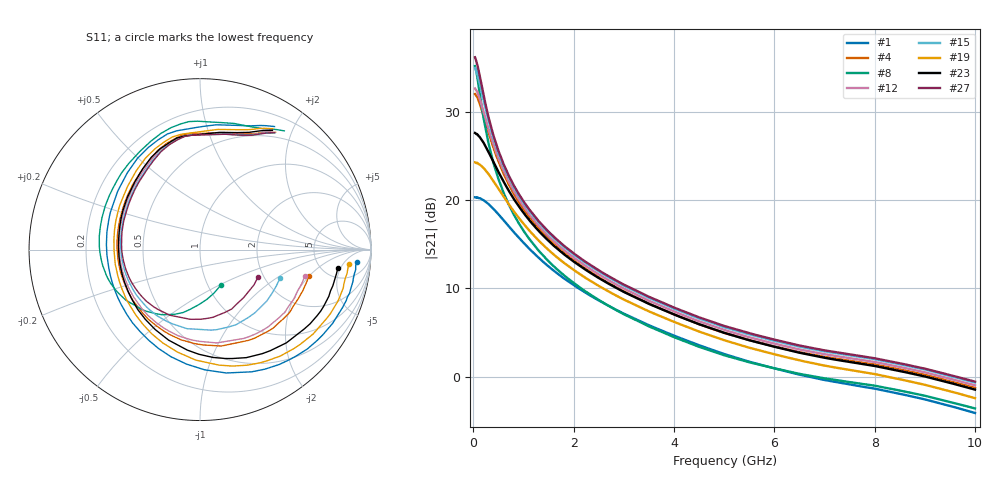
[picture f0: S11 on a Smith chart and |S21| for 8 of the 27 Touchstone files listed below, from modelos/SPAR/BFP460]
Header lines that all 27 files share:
! Infineon Technologies  Discrete & RF Semiconductors
! BFP460
! Common Emitter S-Parameters:  Jan 2016
# GHz  S  MA  R  50
!  f  S11  S21  S12  S22
! GHz  MAG  ANG  MAG  ANG  MAG  ANG  MAG  ANG
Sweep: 30 MHz to 10 GHz
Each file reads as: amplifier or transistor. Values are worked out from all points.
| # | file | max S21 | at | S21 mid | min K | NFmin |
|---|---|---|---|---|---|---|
| 1 | BFP460_w_noise_VCE_1.5V_IC_3.0mA.s2p | 20.3 dB | 70 MHz | 11.2 dB at 1.78 GHz | 0.03 | 0.71 dB |
| 2 | BFP460_w_noise_VCE_1.5V_IC_8.0mA.s2p | 27.7 dB | 30 MHz | 13.4 dB at 1.78 GHz | 0.07 | 0.89 dB |
| 3 | BFP460_w_noise_VCE_1.5V_IC_10mA.s2p | 29.1 dB | 30 MHz | 13.7 dB at 1.78 GHz | 0.09 | 0.95 dB |
| 4 | BFP460_w_noise_VCE_1.5V_IC_16mA.s2p | 32.0 dB | 30 MHz | 14.1 dB at 1.78 GHz | 0.14 | 1.13 dB |
| 5 | BFP460_w_noise_VCE_1.5V_IC_25mA.s2p | 34.2 dB | 30 MHz | 14.4 dB at 1.78 GHz | 0.19 | 1.36 dB |
| 6 | BFP460_w_noise_VCE_1.5V_IC_40mA.s2p | 35.8 dB | 30 MHz | 14.3 dB at 1.78 GHz | 0.26 | 1.63 dB |
| 7 | BFP460_w_noise_VCE_1.5V_IC_50mA.s2p | 36.3 dB | 30 MHz | 14.1 dB at 1.78 GHz | 0.32 | 1.78 dB |
| 8 | BFP460_w_noise_VCE_1.5V_IC_70mA.s2p | 35.1 dB | 30 MHz | 11.6 dB at 1.78 GHz | 0.56 | 2.03 dB |
| 9 | BFP460_w_noise_VCE_2.0V_IC_3.0mA.s2p | 20.3 dB | 70 MHz | 11.4 dB at 1.78 GHz | 0.01 | 0.70 dB |
| 10 | BFP460_w_noise_VCE_2.0V_IC_8.0mA.s2p | 27.6 dB | 30 MHz | 13.6 dB at 1.78 GHz | 0.06 | 0.89 dB |
| 11 | BFP460_w_noise_VCE_2.0V_IC_14mA.s2p | 31.2 dB | 30 MHz | 14.3 dB at 1.78 GHz | 0.11 | 1.09 dB |
| 12 | BFP460_w_noise_VCE_2.0V_IC_18mA.s2p | 32.6 dB | 30 MHz | 14.5 dB at 1.78 GHz | 0.13 | 1.13 dB |
| 13 | BFP460_w_noise_VCE_2.0V_IC_40mA.s2p | 35.9 dB | 30 MHz | 14.6 dB at 1.78 GHz | 0.25 | 1.63 dB |
| 14 | BFP460_w_noise_VCE_2.5V_IC_20mA.s2p | 33.1 dB | 30 MHz | 14.7 dB at 1.78 GHz | 0.14 | 1.24 dB |
| 15 | BFP460_w_noise_VCE_2.5V_IC_30mA.s2p | 34.9 dB | 30 MHz | 14.8 dB at 1.78 GHz | 0.19 | 1.47 dB |
| 16 | BFP460_w_noise_VCE_2.5V_IC_35mA.s2p | 35.4 dB | 30 MHz | 14.8 dB at 1.78 GHz | 0.21 | 1.56 dB |
| 17 | BFP460_w_noise_VCE_2.5V_IC_50mA.s2p | 36.3 dB | 30 MHz | 14.7 dB at 1.78 GHz | 0.28 | 1.78 dB |
| 18 | BFP460_w_noise_VCE_3.0V_IC_1.0mA.s2p | 11.6 dB | 70 MHz | 6.7 dB at 1.78 GHz | 0.01 | 0.69 dB |
| 19 | BFP460_w_noise_VCE_3.0V_IC_5.0mA.s2p | 24.3 dB | 30 MHz | 13.0 dB at 1.78 GHz | 0.04 | 0.78 dB |
| 20 | BFP460_w_noise_VCE_3.0V_IC_10mA.s2p | 29.1 dB | 30 MHz | 14.2 dB at 1.78 GHz | 0.09 | 0.95 dB |
| 21 | BFP460_w_noise_VCE_3.0V_IC_20mA.s2p | 33.1 dB | 30 MHz | 14.8 dB at 1.78 GHz | 0.15 | 1.24 dB |
| 22 | BFP460_w_noise_VCE_3.0V_IC_45mA.s2p | 36.1 dB | 30 MHz | 14.9 dB at 1.78 GHz | 0.26 | 1.72 dB |
| 23 | BFP460_w_noise_VCE_4.0V_IC_8.0mA.s2p | 27.6 dB | 30 MHz | 14.0 dB at 1.78 GHz | 0.10 | 0.89 dB |
| 24 | BFP460_w_noise_VCE_4.0V_IC_10mA.s2p | 29.1 dB | 30 MHz | 14.3 dB at 1.78 GHz | 0.13 | 0.95 dB |
| 25 | BFP460_w_noise_VCE_4.0V_IC_14mA.s2p | 31.1 dB | 30 MHz | 14.6 dB at 1.78 GHz | 0.15 | 1.09 dB |
| 26 | BFP460_w_noise_VCE_4.0V_IC_20mA.s2p | 33.0 dB | 30 MHz | 14.9 dB at 1.78 GHz | 0.19 | 1.24 dB |
| 27 | BFP460_w_noise_VCE_4.0V_IC_50mA.s2p | 36.1 dB | 30 MHz | 14.9 dB at 1.78 GHz | 0.27 | 1.78 dB |

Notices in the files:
3_Circuitos_sintonizados/5_Ejercicios/borradores/ejercicios1/modelos/SPAR/BFP460/BFP460_w_noise_VCE_1.5V_IC_10mA.s2p:
(c) 2016  Infineon Technologies AG, Munich
